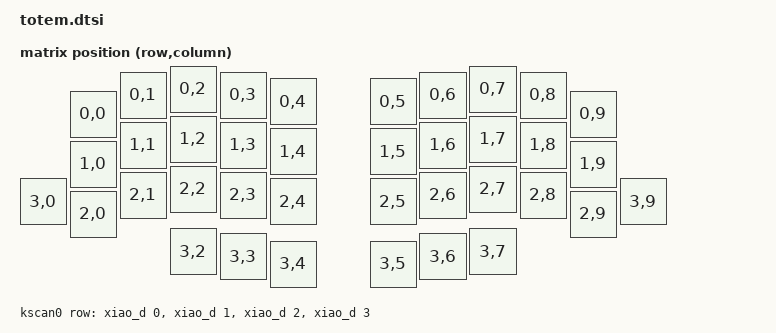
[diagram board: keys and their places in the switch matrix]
/*
 * Copyright (c) 2022 The ZMK Contributors
 *
 * SPDX-License-Identifier: MIT
 */

#include <dt-bindings/zmk/matrix_transform.h>
#include <physical_layouts.dtsi>

/ {
    chosen {
        zmk,kscan = &kscan0;
        zmk,physical-layout = &default_layout;
    };

    default_transform: keymap_transform_0 {
        compatible = "zmk,matrix-transform";
        columns = <10>;
        rows = <4>;
//             | SW01  | SW02  | SW03  | SW04  | SW05  |  | SW05  | SW04  | SW03  | SW02  | SW01  |
//             | SW06  | SW07  | SW08  | SW09  | SW10  |  | SW10  | SW09  | SW08  | SW07  | SW06  | 
//      | SW16 | SW11  | SW12  | SW13  | SW14  | SW15  |  | SW15  | SW14  | SW13  | SW12  | SW11  | SW16  |
//                             | SW17  | SW18  | SW19  |  | SW19  | SW18  | SW17  | 
        map = <
                RC(0,0) RC(0,1) RC(0,2) RC(0,3) RC(0,4)    RC(0,5) RC(0,6) RC(0,7) RC(0,8) RC(0,9)
                RC(1,0) RC(1,1) RC(1,2) RC(1,3) RC(1,4)    RC(1,5) RC(1,6) RC(1,7) RC(1,8) RC(1,9)
        RC(3,0) RC(2,0) RC(2,1) RC(2,2) RC(2,3) RC(2,4)    RC(2,5) RC(2,6) RC(2,7) RC(2,8) RC(2,9) RC(3,9)
                                RC(3,2) RC(3,3) RC(3,4)    RC(3,5) RC(3,6) RC(3,7)         
        >;
    };

    default_layout: default_layout {
        compatible = "zmk,physical-layout";
        display-name = "Default";
        transform = <&default_transform>;
        kscan = <&kscan0>;
        keys  //                     w   h     x    y  rot   rx   ry
            = 
            // Top row
            <&key_physical_attrs 100 100   100   50    0    0    0>
            , <&key_physical_attrs 100 100   200   12    0    0    0>
            , <&key_physical_attrs 100 100   300    0    0    0    0>
            , <&key_physical_attrs 100 100   400   12    0    0    0>
            , <&key_physical_attrs 100 100   500   25    0    0    0>
            , <&key_physical_attrs 100 100   700   25    0    0    0>
            , <&key_physical_attrs 100 100   800   12    0    0    0>
            , <&key_physical_attrs 100 100   900    0    0    0    0>
            , <&key_physical_attrs 100 100  1000   12    0    0    0>
            , <&key_physical_attrs 100 100  1100   50    0    0    0>
            // Home row
            , <&key_physical_attrs 100 100   100  150    0    0    0>
            , <&key_physical_attrs 100 100   200  112    0    0    0>
            , <&key_physical_attrs 100 100   300  100    0    0    0>
            , <&key_physical_attrs 100 100   400  112    0    0    0>
            , <&key_physical_attrs 100 100   500  125    0    0    0>
            , <&key_physical_attrs 100 100   700  125    0    0    0>
            , <&key_physical_attrs 100 100   800  112    0    0    0>
            , <&key_physical_attrs 100 100   900  100    0    0    0>
            , <&key_physical_attrs 100 100  1000  112    0    0    0>
            , <&key_physical_attrs 100 100  1100  150    0    0    0>
            // Bottom row (incl. outer pinky keys)
            , <&key_physical_attrs 100 100     0  225    0    0    0>
            , <&key_physical_attrs 100 100   100  250    0    0    0>
            , <&key_physical_attrs 100 100   200  212    0    0    0>
            , <&key_physical_attrs 100 100   300  200    0    0    0>
            , <&key_physical_attrs 100 100   400  212    0    0    0>
            , <&key_physical_attrs 100 100   500  225    0    0    0>
            , <&key_physical_attrs 100 100   700  225    0    0    0>
            , <&key_physical_attrs 100 100   800  212    0    0    0>
            , <&key_physical_attrs 100 100   900  200    0    0    0>
            , <&key_physical_attrs 100 100  1000  212    0    0    0>
            , <&key_physical_attrs 100 100  1100  250    0    0    0>
            , <&key_physical_attrs 100 100  1200  225    0    0    0>
            // Thumbs
            , <&key_physical_attrs 100 100   300  325    0    0    0>
            , <&key_physical_attrs 100 100   400  335    0    0    0>
            , <&key_physical_attrs 100 100   500  350    0    0    0>
            , <&key_physical_attrs 100 100   700  350    0    0    0>
            , <&key_physical_attrs 100 100   800  335    0    0    0>
            , <&key_physical_attrs 100 100   900  325    0    0    0>
            ;
    };

    kscan0: kscan_0 {
        compatible = "zmk,kscan-gpio-matrix";
        label = "KSCAN";
        
        diode-direction = "col2row"; 
        row-gpios
            = <&xiao_d 0 (GPIO_ACTIVE_HIGH | GPIO_PULL_DOWN)>
            , <&xiao_d 1 (GPIO_ACTIVE_HIGH | GPIO_PULL_DOWN)>
            , <&xiao_d 2 (GPIO_ACTIVE_HIGH | GPIO_PULL_DOWN)>
            , <&xiao_d 3 (GPIO_ACTIVE_HIGH | GPIO_PULL_DOWN)>
            ;
    };
};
